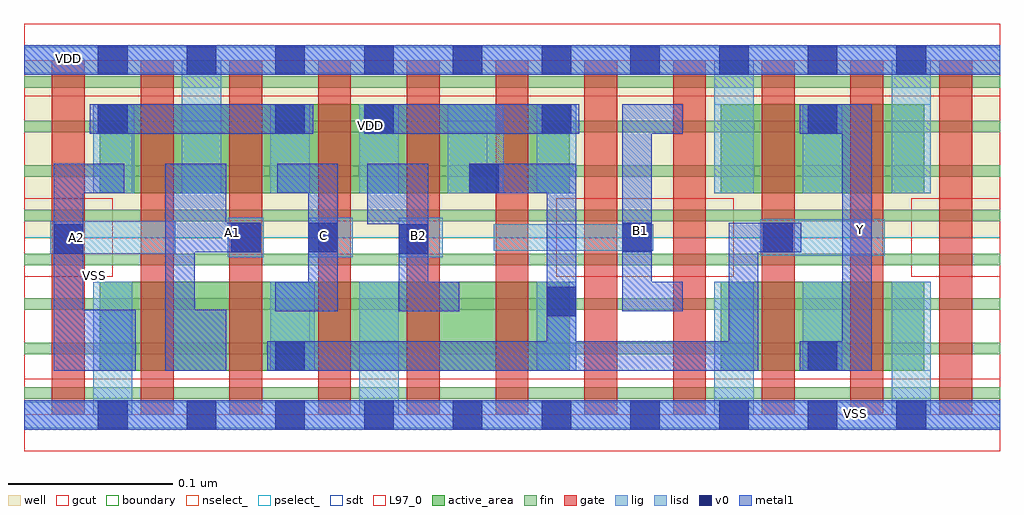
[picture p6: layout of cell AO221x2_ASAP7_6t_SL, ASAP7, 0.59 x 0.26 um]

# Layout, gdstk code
import gdstk
lib = gdstk.Library(unit=1e-6, precision=2.5e-10)
def R(c, l, rs):  # rectangles x0, y0, x1, y1
    for r in rs: c.add(gdstk.rectangle(r[:2], r[2:], *l))
def A(c, l, x, y, w, h, nx, ny, dx, dy):  # array of equal rectangles
    R(c, l, [(x+i*dx, y+j*dy, x+i*dx+w, y+j*dy+h) for i in range(nx) for j in range(ny)])
def P(c, l, *ps):  # polygons
    for p in ps: c.add(gdstk.Polygon(p, *l))
well = (1, 0)
fin = (2, 0)
gate = (7, 0)
gcut = (10, 0)
active_area = (11, 0)
nselect_ = (12, 0)
pselect_ = (13, 0)
lig = (16, 0)
lisd = (17, 0)
v0 = (18, 0)
metal1 = (19, 0)
sdt = (88, 0)
L97_0 = (97, 0)
boundary = (100, 0)

ao221x2_asap7_6t_sl = lib.new_cell('AO221x2_ASAP7_6t_SL')
R(ao221x2_asap7_6t_sl, well, [(0,0.108,0.594,0.216)])
A(ao221x2_asap7_6t_sl, fin, 0, 0.01, 0.594, 0.007, 1, 8, 0, 0.027)
A(ao221x2_asap7_6t_sl, gate, 0.017, 0, 0.02, 0.216, 11, 1, 0.054, 0)
R(ao221x2_asap7_6t_sl, gcut, [(0,-0.022,0.594,0.022), (0,0.084,0.054,0.132), (0.324,0.084,0.432,0.132), (0.54,0.084,0.594,0.132), (0,0.194,0.594,0.238)])
R(ao221x2_asap7_6t_sl, active_area, [(0.046,0.027,0.332,0.081), (0.424,0.027,0.548,0.081), (0.046,0.135,0.332,0.189), (0.424,0.135,0.548,0.189)])
R(ao221x2_asap7_6t_sl, nselect_, [(0,0,0.594,0.108)])
R(ao221x2_asap7_6t_sl, pselect_, [(0,0.108,0.594,0.216)])
R(ao221x2_asap7_6t_sl, lig, [(0,-0.008,0.594,0.008), (0.124,0.096,0.146,0.12), (0.173,0.096,0.2,0.12), (0.228,0.096,0.255,0.12), (0.448,0.097,0.524,0.119), (0.016,0.098,0.092,0.118), (0.286,0.1,0.383,0.116), (0,0.208,0.594,0.224)])
R(ao221x2_asap7_6t_sl, lisd, [(0.042,0,0.066,0.081), (0.204,0,0.228,0.081), (0.42,0,0.444,0.081), (0.528,0,0.552,0.081), (0.15,0.027,0.177,0.081), (0.312,0.027,0.336,0.081), (0.474,0.027,0.498,0.081), (0.042,0.135,0.067,0.189), (0.096,0.135,0.12,0.216), (0.15,0.135,0.174,0.189), (0.204,0.135,0.228,0.189), (0.258,0.135,0.292,0.189), (0.312,0.135,0.336,0.189), (0.42,0.135,0.444,0.216), (0.474,0.135,0.498,0.189), (0.528,0.135,0.552,0.216)])
A(ao221x2_asap7_6t_sl, v0, 0.045, -0.009, 0.018, 0.018, 10, 2, 0.054, 0.216)
R(ao221x2_asap7_6t_sl, v0, [(0.153,0.027,0.171,0.045), (0.477,0.027,0.495,0.045), (0.318,0.06,0.336,0.078), (0.018,0.098,0.036,0.116), (0.228,0.098,0.246,0.116), (0.126,0.099,0.144,0.117), (0.173,0.099,0.191,0.117), (0.364,0.099,0.382,0.117), (0.45,0.099,0.468,0.117), (0.271,0.135,0.289,0.153), (0.045,0.171,0.063,0.189), (0.153,0.171,0.171,0.189), (0.207,0.171,0.225,0.189), (0.315,0.171,0.333,0.189), (0.477,0.171,0.495,0.189)])
R(ao221x2_asap7_6t_sl, metal1, [(0,-0.009,0.594,0.009), (0.04,0.171,0.176,0.189), (0.207,0.171,0.338,0.189), (0,0.207,0.594,0.225)])
P(ao221x2_asap7_6t_sl, metal1, [(0.191,0.153),(0.154,0.153),(0.154,0.135),(0.173,0.135),(0.173,0.081),(0.153,0.081),(0.153,0.063),(0.191,0.063)],
  [(0.473,0.099),(0.447,0.099),(0.447,0.027),(0.148,0.027),(0.148,0.045),(0.318,0.045),(0.318,0.135),(0.271,0.135),(0.271,0.153),(0.336,0.153),(0.336,0.045),(0.429,0.045),(0.429,0.117),(0.473,0.117)],
  [(0.265,0.081),(0.246,0.081),(0.246,0.153),(0.209,0.153),(0.209,0.116),(0.228,0.116),(0.228,0.063),(0.265,0.063)],
  [(0.144,0.117),(0.123,0.117),(0.123,0.153),(0.086,0.153),(0.086,0.027),(0.123,0.027),(0.123,0.064),(0.104,0.064),(0.104,0.099),(0.144,0.099)],
  [(0.061,0.135),(0.036,0.135),(0.036,0.064),(0.068,0.064),(0.068,0.027),(0.018,0.027),(0.018,0.153),(0.061,0.153)],
  [(0.401,0.189),(0.364,0.189),(0.364,0.063),(0.401,0.063),(0.401,0.081),(0.382,0.081),(0.382,0.171),(0.401,0.171)],
  [(0.516,0.027),(0.472,0.027),(0.472,0.045),(0.498,0.045),(0.498,0.171),(0.472,0.171),(0.472,0.189),(0.516,0.189)])
A(ao221x2_asap7_6t_sl, sdt, 0.204, 0.027, 0.024, 0.054, 3, 1, 0.108, 0)
A(ao221x2_asap7_6t_sl, sdt, 0.042, 0.135, 0.024, 0.054, 6, 1, 0.054, 0)
A(ao221x2_asap7_6t_sl, sdt, 0.42, 0.135, 0.024, 0.054, 3, 1, 0.054, 0)
R(ao221x2_asap7_6t_sl, sdt, [(0.042,0.027,0.066,0.081), (0.15,0.027,0.174,0.081), (0.474,0.027,0.498,0.081), (0.528,0.027,0.552,0.081)])
R(ao221x2_asap7_6t_sl, L97_0, [(0,0,0.594,0.216)])
R(ao221x2_asap7_6t_sl, boundary, [(0,0,0.594,0.216)])
ao221x2_asap7_6t_sl.add(gdstk.Label('B2', (0.24,0.109), layer=19, texttype=251))
ao221x2_asap7_6t_sl.add(gdstk.Label('B1', (0.375,0.112), layer=19, texttype=251))
ao221x2_asap7_6t_sl.add(gdstk.Label('Y', (0.509,0.113), layer=19, texttype=251))
ao221x2_asap7_6t_sl.add(gdstk.Label('C', (0.182,0.109), layer=19, texttype=251))
ao221x2_asap7_6t_sl.add(gdstk.Label('A2', (0.032,0.108), layer=19, texttype=251))
ao221x2_asap7_6t_sl.add(gdstk.Label('A1', (0.127,0.111), layer=19, texttype=251))
ao221x2_asap7_6t_sl.add(gdstk.Label('VDD', (0.027,0.217), layer=19, texttype=251))
ao221x2_asap7_6t_sl.add(gdstk.Label('VSS', (0.506,0.001), layer=19, texttype=251))
ao221x2_asap7_6t_sl.add(gdstk.Label('VSS', (0.043,0.085), layer=3, texttype=251))
ao221x2_asap7_6t_sl.add(gdstk.Label('VDD', (0.211,0.176), layer=1, texttype=251))

lib.write_gds('AO221x2_ASAP7_6t_SL.gds')
